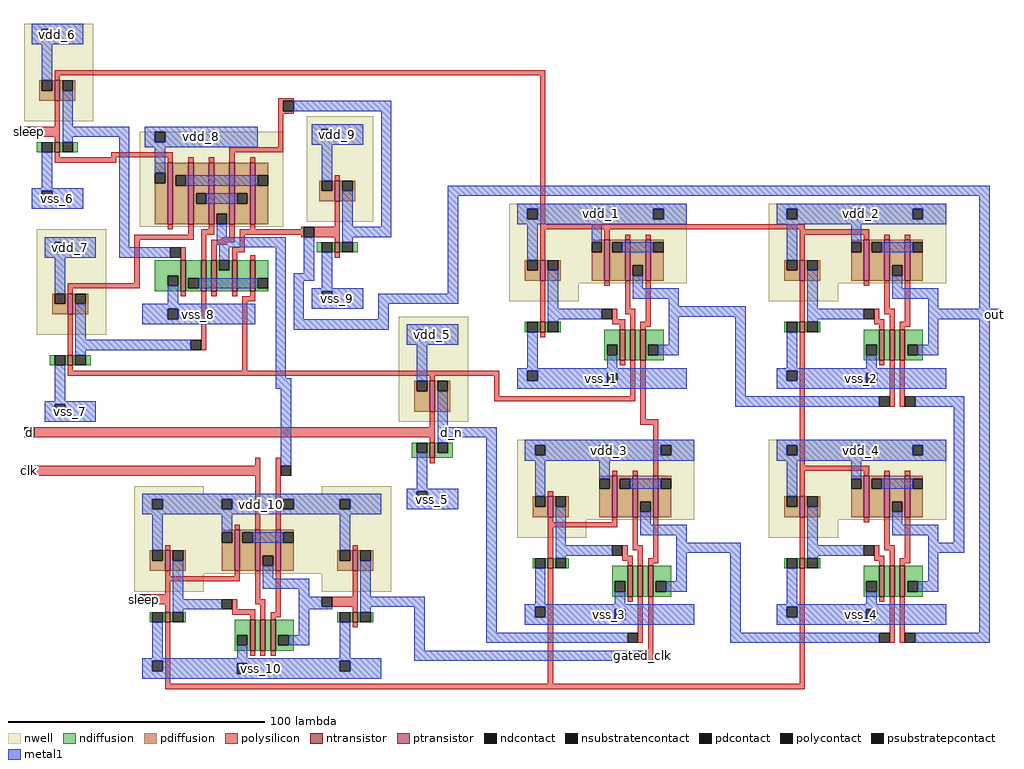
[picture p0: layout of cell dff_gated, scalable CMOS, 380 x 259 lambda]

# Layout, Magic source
magic
tech scmos
<< nwell >>
rect -146 203 -119 241
rect -101 162 -45 199
rect -36 164 -10 205
rect -141 120 -114 161
rect 43 140 112 171
rect 144 140 213 171
rect 43 133 70 140
rect 144 133 171 140
rect 0 86 27 127
rect -103 58 -76 61
rect -30 58 -3 61
rect -103 27 -3 58
rect 46 48 115 79
rect 144 48 213 79
rect 46 41 73 48
rect 144 41 171 48
rect -103 20 -76 27
rect -30 20 -3 27
<< polysilicon >>
rect -134 221 57 223
rect -134 219 -132 221
rect -47 211 -41 212
rect -134 201 -132 211
rect -142 197 -132 201
rect -47 207 -45 211
rect -47 206 -41 207
rect -134 195 -132 197
rect -47 193 -45 206
rect -66 191 -45 193
rect -134 189 -132 191
rect -112 189 -88 191
rect -134 187 -110 189
rect -90 187 -88 189
rect -82 187 -80 189
rect -74 187 -72 189
rect -66 187 -64 191
rect -58 187 -56 189
rect -25 180 -23 182
rect -90 161 -88 163
rect -82 159 -80 163
rect -74 161 -72 163
rect -103 157 -80 159
rect -77 159 -72 161
rect -103 140 -101 157
rect -85 149 -83 154
rect -77 149 -75 159
rect -66 158 -64 163
rect -58 161 -56 163
rect -25 162 -23 172
rect -38 161 -37 162
rect -69 157 -64 158
rect -73 156 -64 157
rect -62 159 -37 161
rect -73 155 -67 156
rect -73 149 -71 155
rect -62 154 -60 159
rect -38 158 -37 159
rect -33 158 -23 162
rect -25 156 -23 158
rect 55 163 57 221
rect 55 161 158 163
rect -65 152 -60 154
rect -65 149 -63 152
rect -58 149 -56 151
rect -25 150 -23 152
rect 55 149 57 161
rect 80 157 82 161
rect 156 159 183 161
rect 88 157 90 159
rect 96 157 98 159
rect -129 138 -101 140
rect -129 136 -127 138
rect 156 149 158 159
rect 181 157 183 159
rect 189 157 191 159
rect 197 157 199 159
rect -85 135 -83 137
rect -129 112 -127 128
rect -77 114 -75 137
rect -73 135 -71 137
rect -65 135 -63 137
rect -58 135 -56 137
rect -61 133 -56 135
rect -129 106 -127 108
rect -61 106 -59 133
rect 55 125 57 141
rect 80 139 82 141
rect 88 130 90 141
rect 83 126 85 130
rect 88 128 92 130
rect 83 124 88 126
rect 86 122 88 124
rect 90 122 92 128
rect 96 125 98 141
rect 156 125 158 141
rect 181 139 183 141
rect 189 130 191 141
rect 185 126 187 130
rect 189 128 193 130
rect 94 123 98 125
rect 94 122 96 123
rect 55 119 57 121
rect 185 124 189 126
rect 187 122 189 124
rect 191 122 193 128
rect 197 125 199 141
rect 195 123 199 125
rect 195 122 197 123
rect 86 108 88 110
rect -129 104 39 106
rect 12 102 14 104
rect 37 96 39 104
rect 90 96 92 110
rect 37 94 92 96
rect 12 84 14 90
rect 94 87 96 110
rect 94 85 101 87
rect -142 80 14 84
rect 12 78 14 80
rect -56 69 -54 72
rect -142 65 -54 69
rect -64 44 -62 46
rect -56 44 -54 65
rect -48 44 -46 72
rect 12 70 14 72
rect 83 65 85 67
rect 91 65 93 67
rect 99 65 101 85
rect 156 69 158 121
rect 187 108 189 110
rect 191 92 193 110
rect 195 92 197 110
rect 156 67 183 69
rect 58 57 60 59
rect 156 57 158 67
rect 181 65 183 67
rect 189 65 191 67
rect 197 65 199 67
rect 58 47 60 49
rect 83 47 85 49
rect 58 45 85 47
rect -91 36 -89 38
rect -18 36 -16 38
rect 58 33 60 45
rect 91 38 93 49
rect 87 34 89 38
rect 91 36 95 38
rect 87 32 91 34
rect 89 30 91 32
rect 93 30 95 36
rect 99 33 101 49
rect 156 33 158 49
rect 181 47 183 49
rect 189 38 191 49
rect 185 34 187 38
rect 189 36 193 38
rect 97 31 101 33
rect 97 30 99 31
rect -91 26 -89 28
rect -64 26 -62 28
rect -91 24 -62 26
rect -91 19 -89 24
rect -97 15 -89 19
rect -56 17 -54 28
rect -91 12 -89 15
rect -65 13 -63 17
rect -56 15 -52 17
rect -65 11 -56 13
rect -58 9 -56 11
rect -54 9 -52 15
rect -48 12 -46 28
rect -18 18 -16 28
rect -26 14 -16 18
rect -18 12 -16 14
rect -50 10 -46 12
rect -50 9 -48 10
rect -91 -16 -89 8
rect -18 6 -16 8
rect -58 -5 -56 -3
rect -54 -5 -52 -3
rect -50 -5 -48 -3
rect 58 -16 60 29
rect 185 32 189 34
rect 187 30 189 32
rect 191 30 193 36
rect 197 33 199 49
rect 195 31 199 33
rect 195 30 197 31
rect 89 16 91 18
rect 93 0 95 18
rect 97 -7 99 18
rect 156 -16 158 29
rect 187 16 189 18
rect 191 0 193 18
rect 195 0 197 18
rect -91 -18 158 -16
<< ndiffusion >>
rect -141 191 -139 195
rect -135 191 -134 195
rect -132 191 -131 195
rect -127 191 -125 195
rect -32 152 -30 156
rect -26 152 -25 156
rect -23 152 -22 156
rect -18 152 -16 156
rect -95 143 -85 149
rect -95 139 -90 143
rect -86 139 -85 143
rect -95 137 -85 139
rect -83 142 -77 149
rect -83 138 -82 142
rect -78 138 -77 142
rect -83 137 -77 138
rect -75 137 -73 149
rect -71 145 -70 149
rect -66 145 -65 149
rect -71 137 -65 145
rect -63 137 -58 149
rect -56 142 -51 149
rect -56 138 -55 142
rect -56 137 -51 138
rect -136 108 -134 112
rect -130 108 -129 112
rect -127 108 -126 112
rect -122 108 -120 112
rect 49 121 50 125
rect 54 121 55 125
rect 57 121 58 125
rect 62 121 63 125
rect 80 116 86 122
rect 80 112 81 116
rect 85 112 86 116
rect 80 110 86 112
rect 88 110 90 122
rect 92 110 94 122
rect 96 116 103 122
rect 150 121 151 125
rect 155 121 156 125
rect 158 121 159 125
rect 163 121 164 125
rect 96 112 97 116
rect 101 112 103 116
rect 96 110 103 112
rect 5 74 7 78
rect 11 74 12 78
rect 5 72 12 74
rect 14 74 15 78
rect 19 74 21 78
rect 14 72 21 74
rect 181 116 187 122
rect 181 112 182 116
rect 186 112 187 116
rect 181 110 187 112
rect 189 110 191 122
rect 193 110 195 122
rect 197 116 204 122
rect 197 112 198 116
rect 202 112 204 116
rect 197 110 204 112
rect 52 29 53 33
rect 57 29 58 33
rect 60 29 61 33
rect 65 29 66 33
rect -97 8 -96 12
rect -92 8 -91 12
rect -89 8 -88 12
rect -84 8 -83 12
rect -64 3 -58 9
rect -64 -1 -63 3
rect -59 -1 -58 3
rect -64 -3 -58 -1
rect -56 -3 -54 9
rect -52 -3 -50 9
rect -48 3 -41 9
rect -24 8 -23 12
rect -19 8 -18 12
rect -16 8 -15 12
rect -11 8 -10 12
rect -48 -1 -47 3
rect -43 -1 -41 3
rect -48 -3 -41 -1
rect 83 24 89 30
rect 83 20 84 24
rect 88 20 89 24
rect 83 18 89 20
rect 91 18 93 30
rect 95 18 97 30
rect 99 24 106 30
rect 150 29 151 33
rect 155 29 156 33
rect 158 29 159 33
rect 163 29 164 33
rect 99 20 100 24
rect 104 20 106 24
rect 99 18 106 20
rect 181 24 187 30
rect 181 20 182 24
rect 186 20 187 24
rect 181 18 187 20
rect 189 18 191 30
rect 193 18 195 30
rect 197 24 204 30
rect 197 20 198 24
rect 202 20 204 24
rect 197 18 204 20
<< pdiffusion >>
rect -140 215 -139 219
rect -135 215 -134 219
rect -140 211 -134 215
rect -132 215 -131 219
rect -127 215 -126 219
rect -132 211 -126 215
rect -95 183 -90 187
rect -91 179 -90 183
rect -95 163 -90 179
rect -88 182 -82 187
rect -88 178 -87 182
rect -83 178 -82 182
rect -88 163 -82 178
rect -80 175 -74 187
rect -80 171 -79 175
rect -75 171 -74 175
rect -80 163 -74 171
rect -72 167 -66 187
rect -72 163 -71 167
rect -67 163 -66 167
rect -64 175 -58 187
rect -64 171 -63 175
rect -59 171 -58 175
rect -64 163 -58 171
rect -56 182 -51 187
rect -56 178 -55 182
rect -56 163 -51 178
rect -31 176 -30 180
rect -26 176 -25 180
rect -31 172 -25 176
rect -23 176 -22 180
rect -18 176 -17 180
rect -23 172 -17 176
rect 75 156 80 157
rect 79 152 80 156
rect 49 145 50 149
rect 54 145 55 149
rect 49 141 55 145
rect 57 145 58 149
rect 62 145 63 149
rect 57 141 63 145
rect 75 141 80 152
rect 82 156 88 157
rect 82 152 83 156
rect 87 152 88 156
rect 82 141 88 152
rect 90 147 96 157
rect 90 143 91 147
rect 95 143 96 147
rect 90 141 96 143
rect 98 156 103 157
rect 98 152 99 156
rect 98 141 103 152
rect 176 156 181 157
rect 180 152 181 156
rect 150 145 151 149
rect 155 145 156 149
rect 150 141 156 145
rect 158 145 159 149
rect 163 145 164 149
rect 158 141 164 145
rect 176 141 181 152
rect 183 156 189 157
rect 183 152 184 156
rect 188 152 189 156
rect 183 141 189 152
rect 191 147 197 157
rect 191 143 192 147
rect 196 143 197 147
rect 191 141 197 143
rect 199 156 204 157
rect 199 152 200 156
rect 199 141 204 152
rect -135 132 -134 136
rect -130 132 -129 136
rect -135 128 -129 132
rect -127 132 -126 136
rect -122 132 -121 136
rect -127 128 -121 132
rect 6 98 7 102
rect 11 98 12 102
rect 6 90 12 98
rect 14 98 15 102
rect 19 98 20 102
rect 14 90 20 98
rect 78 64 83 65
rect 82 60 83 64
rect 52 53 53 57
rect 57 53 58 57
rect 52 49 58 53
rect 60 53 61 57
rect 65 53 66 57
rect 60 49 66 53
rect 78 49 83 60
rect 85 64 91 65
rect 85 60 86 64
rect 90 60 91 64
rect 85 49 91 60
rect 93 55 99 65
rect 93 51 94 55
rect 98 51 99 55
rect 93 49 99 51
rect 101 64 106 65
rect 101 60 102 64
rect 101 49 106 60
rect 176 64 181 65
rect 180 60 181 64
rect 150 53 151 57
rect 155 53 156 57
rect 150 49 156 53
rect 158 53 159 57
rect 163 53 164 57
rect 158 49 164 53
rect 176 49 181 60
rect 183 64 189 65
rect 183 60 184 64
rect 188 60 189 64
rect 183 49 189 60
rect 191 55 197 65
rect 191 51 192 55
rect 196 51 197 55
rect 191 49 197 51
rect 199 64 204 65
rect 199 60 200 64
rect 199 49 204 60
rect -69 43 -64 44
rect -65 39 -64 43
rect -97 32 -96 36
rect -92 32 -91 36
rect -97 28 -91 32
rect -89 32 -88 36
rect -84 32 -83 36
rect -89 28 -83 32
rect -69 28 -64 39
rect -62 43 -56 44
rect -62 39 -61 43
rect -57 39 -56 43
rect -62 28 -56 39
rect -54 34 -48 44
rect -54 30 -53 34
rect -49 30 -48 34
rect -54 28 -48 30
rect -46 43 -41 44
rect -46 39 -45 43
rect -46 28 -41 39
rect -24 32 -23 36
rect -19 32 -18 36
rect -24 28 -18 32
rect -16 32 -15 36
rect -11 32 -10 36
rect -16 28 -10 32
<< metal1 >>
rect -143 239 -123 241
rect -143 235 -139 239
rect -135 235 -123 239
rect -143 233 -123 235
rect -139 219 -135 233
rect -131 201 -127 215
rect -41 207 -3 211
rect -131 197 -105 201
rect -131 195 -127 197
rect -139 177 -135 191
rect -143 176 -123 177
rect -143 172 -139 176
rect -135 172 -123 176
rect -143 169 -123 172
rect -138 156 -118 158
rect -138 152 -134 156
rect -130 152 -118 156
rect -138 150 -118 152
rect -109 154 -105 197
rect -99 199 -55 201
rect -99 195 -95 199
rect -91 195 -55 199
rect -99 193 -55 195
rect -34 200 -14 202
rect -34 196 -30 200
rect -26 196 -14 200
rect -34 194 -14 196
rect -95 183 -91 193
rect -83 178 -55 182
rect -30 180 -26 194
rect -75 171 -63 175
rect -71 158 -67 163
rect -22 162 -18 176
rect -7 162 -3 207
rect -71 155 -44 158
rect -70 154 -44 155
rect -109 150 -89 154
rect -134 136 -130 150
rect -70 149 -66 154
rect -90 132 -86 139
rect -78 138 -55 142
rect -126 118 -122 132
rect -100 130 -56 132
rect -100 126 -90 130
rect -86 126 -56 130
rect -100 124 -56 126
rect -126 114 -81 118
rect -126 112 -122 114
rect -134 94 -130 108
rect -48 103 -44 154
rect -37 144 -33 158
rect -22 158 -3 162
rect 19 174 230 178
rect -22 156 -18 158
rect -41 141 -33 144
rect -41 126 -37 141
rect -30 138 -26 152
rect -34 137 -14 138
rect -34 133 -30 137
rect -26 133 -14 137
rect 19 136 23 174
rect 46 169 112 171
rect 46 165 50 169
rect 54 165 75 169
rect 79 165 99 169
rect 103 165 112 169
rect 46 163 112 165
rect 147 169 213 171
rect 147 165 151 169
rect 155 165 176 169
rect 180 165 200 169
rect 204 165 213 169
rect 147 163 213 165
rect 50 149 54 163
rect 75 156 79 163
rect 87 152 99 156
rect 151 149 155 163
rect 176 156 180 163
rect 188 152 200 156
rect -34 130 -14 133
rect -8 132 23 136
rect -8 126 -4 132
rect -41 122 -4 126
rect 58 130 62 145
rect 91 138 95 143
rect 91 134 109 138
rect 105 131 109 134
rect 58 126 79 130
rect 105 127 135 131
rect 58 125 62 126
rect 3 122 23 124
rect 3 118 7 122
rect 11 118 23 122
rect 3 116 23 118
rect -48 99 -42 103
rect -138 93 -118 94
rect -138 89 -134 93
rect -130 89 -118 93
rect -138 86 -118 89
rect -46 69 -42 99
rect 7 102 11 116
rect 50 107 54 121
rect 105 116 109 127
rect 101 112 109 116
rect 81 107 85 112
rect 46 106 112 107
rect 46 102 50 106
rect 54 105 112 106
rect 54 102 81 105
rect 46 101 81 102
rect 85 101 112 105
rect 46 99 112 101
rect 15 84 19 98
rect 131 96 135 127
rect 159 130 163 145
rect 192 138 196 143
rect 192 134 210 138
rect 206 130 210 134
rect 226 130 230 174
rect 159 126 181 130
rect 206 126 234 130
rect 159 125 163 126
rect 151 107 155 121
rect 206 116 210 126
rect 202 112 210 116
rect 182 107 186 112
rect 147 106 213 107
rect 147 102 151 106
rect 155 105 213 106
rect 155 102 182 105
rect 147 101 182 102
rect 186 101 213 105
rect 147 99 213 101
rect 131 92 187 96
rect 201 92 220 96
rect 15 80 38 84
rect 15 78 19 80
rect 7 60 11 74
rect 3 59 23 60
rect -100 56 -7 58
rect -100 52 -96 56
rect -92 52 -69 56
rect -65 52 -45 56
rect -41 52 -23 56
rect -19 52 -7 56
rect 3 55 7 59
rect 11 55 23 59
rect 3 52 23 55
rect -100 50 -7 52
rect -96 36 -92 50
rect -69 43 -65 50
rect -57 39 -45 43
rect -23 36 -19 50
rect -88 17 -84 32
rect -53 25 -49 30
rect -53 21 -35 25
rect -39 18 -35 21
rect -15 18 -11 32
rect -88 13 -69 17
rect -39 14 -30 18
rect -39 13 -26 14
rect -15 14 10 18
rect -88 12 -84 13
rect -96 -6 -92 8
rect -39 3 -35 13
rect -15 12 -11 14
rect -43 -1 -35 3
rect -63 -6 -59 -1
rect -23 -6 -19 8
rect 6 -3 10 14
rect 34 4 38 80
rect 49 77 115 79
rect 49 73 53 77
rect 57 73 78 77
rect 82 73 102 77
rect 106 73 115 77
rect 49 71 115 73
rect 147 77 213 79
rect 147 73 151 77
rect 155 73 176 77
rect 180 73 200 77
rect 204 73 213 77
rect 147 71 213 73
rect 53 57 57 71
rect 78 64 82 71
rect 90 60 102 64
rect 151 57 155 71
rect 176 64 180 71
rect 188 60 200 64
rect 61 38 65 53
rect 94 46 98 51
rect 94 42 112 46
rect 108 39 112 42
rect 61 34 83 38
rect 108 35 133 39
rect 61 33 65 34
rect 53 15 57 29
rect 108 24 112 35
rect 104 20 112 24
rect 84 15 88 20
rect 49 14 115 15
rect 49 10 53 14
rect 57 13 115 14
rect 57 10 84 13
rect 49 9 84 10
rect 88 9 115 13
rect 49 7 115 9
rect 129 4 133 35
rect 159 38 163 53
rect 192 46 196 51
rect 192 42 210 46
rect 206 39 210 42
rect 216 39 220 92
rect 159 34 181 38
rect 206 35 220 39
rect 159 33 163 34
rect 151 15 155 29
rect 206 24 210 35
rect 202 20 210 24
rect 182 15 186 20
rect 147 14 213 15
rect 147 10 151 14
rect 155 13 213 14
rect 155 10 182 13
rect 147 9 182 10
rect 186 9 213 13
rect 147 7 213 9
rect 226 4 230 126
rect 34 0 89 4
rect 129 0 187 4
rect 201 0 230 4
rect -100 -7 -7 -6
rect 6 -7 93 -3
rect -100 -11 -96 -7
rect -92 -8 -23 -7
rect -92 -11 -63 -8
rect -100 -12 -63 -11
rect -59 -11 -23 -8
rect -19 -11 -7 -7
rect -59 -12 -7 -11
rect -100 -14 -7 -12
<< ntransistor >>
rect -134 191 -132 195
rect -25 152 -23 156
rect -85 137 -83 149
rect -77 137 -75 149
rect -73 137 -71 149
rect -65 137 -63 149
rect -58 137 -56 149
rect -129 108 -127 112
rect 55 121 57 125
rect 86 110 88 122
rect 90 110 92 122
rect 94 110 96 122
rect 156 121 158 125
rect 12 72 14 78
rect 187 110 189 122
rect 191 110 193 122
rect 195 110 197 122
rect 58 29 60 33
rect -91 8 -89 12
rect -58 -3 -56 9
rect -54 -3 -52 9
rect -50 -3 -48 9
rect -18 8 -16 12
rect 89 18 91 30
rect 93 18 95 30
rect 97 18 99 30
rect 156 29 158 33
rect 187 18 189 30
rect 191 18 193 30
rect 195 18 197 30
<< ptransistor >>
rect -134 211 -132 219
rect -90 163 -88 187
rect -82 163 -80 187
rect -74 163 -72 187
rect -66 163 -64 187
rect -58 163 -56 187
rect -25 172 -23 180
rect 55 141 57 149
rect 80 141 82 157
rect 88 141 90 157
rect 96 141 98 157
rect 156 141 158 149
rect 181 141 183 157
rect 189 141 191 157
rect 197 141 199 157
rect -129 128 -127 136
rect 12 90 14 102
rect 58 49 60 57
rect 83 49 85 65
rect 91 49 93 65
rect 99 49 101 65
rect 156 49 158 57
rect 181 49 183 65
rect 189 49 191 65
rect 197 49 199 65
rect -91 28 -89 36
rect -64 28 -62 44
rect -56 28 -54 44
rect -48 28 -46 44
rect -18 28 -16 36
<< polycontact >>
rect -146 197 -142 201
rect -45 207 -41 211
rect -89 150 -85 154
rect -37 158 -33 162
rect -81 114 -77 118
rect 79 126 83 130
rect 181 126 185 130
rect -146 80 -142 84
rect -146 65 -142 69
rect -46 65 -42 69
rect 187 92 191 96
rect 197 92 201 96
rect 83 34 87 38
rect 181 34 185 38
rect -101 15 -97 19
rect -69 13 -65 17
rect -30 14 -26 18
rect 89 0 93 4
rect 93 -7 97 -3
rect 187 0 191 4
rect 197 0 201 4
<< ndcontact >>
rect -139 191 -135 195
rect -131 191 -127 195
rect -30 152 -26 156
rect -22 152 -18 156
rect -90 139 -86 143
rect -82 138 -78 142
rect -70 145 -66 149
rect -55 138 -51 142
rect -134 108 -130 112
rect -126 108 -122 112
rect 50 121 54 125
rect 58 121 62 125
rect 81 112 85 116
rect 151 121 155 125
rect 159 121 163 125
rect 97 112 101 116
rect 7 74 11 78
rect 15 74 19 78
rect 182 112 186 116
rect 198 112 202 116
rect 53 29 57 33
rect 61 29 65 33
rect -96 8 -92 12
rect -88 8 -84 12
rect -63 -1 -59 3
rect -23 8 -19 12
rect -15 8 -11 12
rect -47 -1 -43 3
rect 84 20 88 24
rect 151 29 155 33
rect 159 29 163 33
rect 100 20 104 24
rect 182 20 186 24
rect 198 20 202 24
<< pdcontact >>
rect -139 215 -135 219
rect -131 215 -127 219
rect -95 179 -91 183
rect -87 178 -83 182
rect -79 171 -75 175
rect -71 163 -67 167
rect -63 171 -59 175
rect -55 178 -51 182
rect -30 176 -26 180
rect -22 176 -18 180
rect 75 152 79 156
rect 50 145 54 149
rect 58 145 62 149
rect 83 152 87 156
rect 91 143 95 147
rect 99 152 103 156
rect 176 152 180 156
rect 151 145 155 149
rect 159 145 163 149
rect 184 152 188 156
rect 192 143 196 147
rect 200 152 204 156
rect -134 132 -130 136
rect -126 132 -122 136
rect 7 98 11 102
rect 15 98 19 102
rect 78 60 82 64
rect 53 53 57 57
rect 61 53 65 57
rect 86 60 90 64
rect 94 51 98 55
rect 102 60 106 64
rect 176 60 180 64
rect 151 53 155 57
rect 159 53 163 57
rect 184 60 188 64
rect 192 51 196 55
rect 200 60 204 64
rect -69 39 -65 43
rect -96 32 -92 36
rect -88 32 -84 36
rect -61 39 -57 43
rect -53 30 -49 34
rect -45 39 -41 43
rect -23 32 -19 36
rect -15 32 -11 36
<< psubstratepcontact >>
rect -139 172 -135 176
rect -90 126 -86 130
rect -30 133 -26 137
rect -134 89 -130 93
rect 50 102 54 106
rect 81 101 85 105
rect 151 102 155 106
rect 182 101 186 105
rect 7 55 11 59
rect -96 -11 -92 -7
rect 53 10 57 14
rect -63 -12 -59 -8
rect -23 -11 -19 -7
rect 84 9 88 13
rect 151 10 155 14
rect 182 9 186 13
<< nsubstratencontact >>
rect -139 235 -135 239
rect -95 195 -91 199
rect -30 196 -26 200
rect -134 152 -130 156
rect 50 165 54 169
rect 75 165 79 169
rect 99 165 103 169
rect 151 165 155 169
rect 176 165 180 169
rect 200 165 204 169
rect 7 118 11 122
rect 53 73 57 77
rect 78 73 82 77
rect -96 52 -92 56
rect -69 52 -65 56
rect 102 73 106 77
rect 151 73 155 77
rect 176 73 180 77
rect 200 73 204 77
rect -45 52 -41 56
rect -23 52 -19 56
<< labels >>
rlabel metal1 19 80 22 84 5 d_n
rlabel nwell 46 163 112 171 1 vdd_1
rlabel nwell 147 163 213 171 1 vdd_2
rlabel nwell 147 71 213 79 1 vdd_4
rlabel nwell 49 71 115 79 1 vdd_3
rlabel metal1 46 99 112 107 5 vss_1
rlabel metal1 147 99 213 107 5 vss_2
rlabel metal1 147 7 213 15 5 vss_4
rlabel metal1 49 7 115 15 5 vss_3
rlabel metal1 230 126 234 130 3 out
rlabel polycontact 93 -7 97 -3 5 gated_clk
rlabel metal1 3 52 23 60 5 vss_5
rlabel nwell 3 116 23 124 1 vdd_5
rlabel nwell -100 50 -7 58 1 vdd_10
rlabel metal1 -100 -14 -7 -6 5 vss_10
rlabel polycontact -101 15 -97 19 7 sleep
rlabel polycontact -146 197 -142 201 5 sleep
rlabel nwell -143 233 -123 241 1 vdd_6
rlabel metal1 -143 169 -123 177 5 vss_6
rlabel nwell -138 150 -118 158 1 vdd_7
rlabel metal1 -138 86 -118 94 5 vss_7
rlabel metal1 -99 193 -55 201 1 vdd_8
rlabel metal1 -100 124 -56 132 5 vss_8
rlabel nwell -34 194 -14 202 1 vdd_9
rlabel metal1 -34 130 -14 138 5 vss_9
rlabel polycontact -146 80 -142 84 7 d
rlabel polycontact -146 65 -142 69 7 clk
<< end >>
